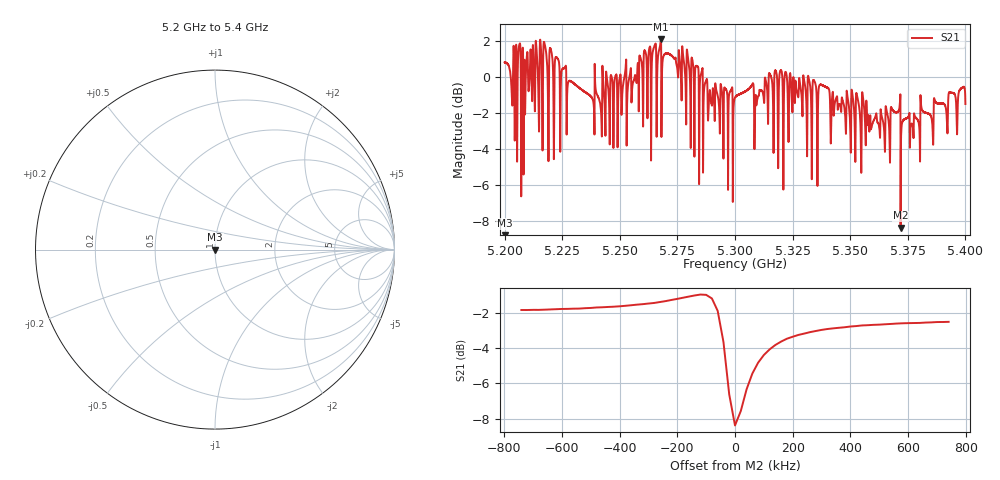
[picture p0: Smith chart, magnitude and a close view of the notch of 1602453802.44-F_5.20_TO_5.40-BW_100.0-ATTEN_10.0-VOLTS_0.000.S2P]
!Keysight Technologies,E5063A,MY54502693,A.05.04
!Date: Mon Oct 12 07:04:59 2020
!Data & Calibration Information:
!Freq	S11:NONE(--)	S21:NONE(--)	S12:NONE(--)	S22:NONE(--)
# Hz S RI R 50
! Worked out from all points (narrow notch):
!   10000 points, 5.2 GHz to 5.4 GHz, reference 50 ohm
!   highest |S21| = 2.09 dB at 5.2679 GHz (marker M1); lowest = -8.4 dB at 5.3719 GHz (marker M2)
!   notch at M2: 7.6 dB deep, 125 kHz wide at half that depth
!   lowest |S11| = - dB at 5.2 GHz (marker M3), VSWR 1.00, Z = 50 + j0 ohm
!   |S11| at or under -10 dB: start of sweep to end of sweep
!   S12 and S22 are empty: the file has one direction only
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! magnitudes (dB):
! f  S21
! 5.2 GHz  0.8
! 5.2036 GHz  0.0
! 5.2059 GHz  1.2
! 5.2081 GHz  0.6
! 5.2131 GHz  -1.9
! 5.2156 GHz  1.8
! 5.2177 GHz  1.6
! 5.2185 GHz  0.5
! 5.2228 GHz  1.0
! 5.2333 GHz  -0.7
! 5.2413 GHz  -1.4
! 5.2667 GHz  1.2
! 5.2679 GHz  2.1
! 5.3 GHz  -1.2
! 5.3071 GHz  -0.5
! 5.3092 GHz  -1.6
! 5.3155 GHz  0.0
! 5.3334 GHz  -5.6
! 5.3378 GHz  -0.5
! 5.3667 GHz  -2.5
! 5.3719 GHz  -8.4
! 5.4 GHz  -1.5
